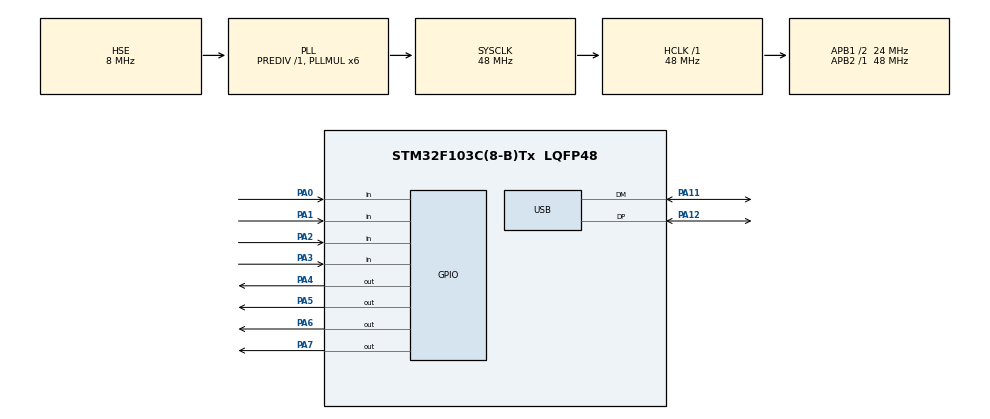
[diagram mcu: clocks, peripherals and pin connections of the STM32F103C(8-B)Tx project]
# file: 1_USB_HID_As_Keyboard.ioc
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Mcu.Family=STM32F1
PA2.GPIO_PuPd=GPIO_PULLUP
USB_DEVICE.CLASS_NAME_FS=HID
PD1-OSC_OUT.Mode=HSE-External-Oscillator
USB_DEVICE.VirtualModeFS=Hid_FS
PA3.GPIO_PuPd=GPIO_PULLUP
PA11.Mode=Device
PD0-OSC_IN.Signal=RCC_OSC_IN
RCC.APB1CLKDivider=RCC_HCLK_DIV2
RCC.SYSCLKSource=RCC_SYSCLKSOURCE_PLLCLK
ProjectManager.StackSize=0x400
PA0-WKUP.Signal=GPIO_Input
PD1-OSC_OUT.Signal=RCC_OSC_OUT
PA13.Signal=SYS_JTMS-SWDIO
PA12.Signal=USB_DP
ProjectManager.TargetToolchain=STM32CubeIDE
RCC.HCLKFreq_Value=48000000
RCC.APB2TimFreq_Value=48000000
RCC.USBFreq_Value=48000000
PA1.GPIO_PuPd=GPIO_PULLUP
PA1.Signal=GPIO_Input
RCC.AHBFreq_Value=48000000
PD0-OSC_IN.Mode=HSE-External-Oscillator
PA5.Signal=GPIO_Output
board=custom
RCC.PLLMUL=RCC_PLL_MUL6
VP_USB_DEVICE_VS_USB_DEVICE_HID_FS.Mode=HID_FS
RCC.APB2Freq_Value=48000000
PA14.Mode=Serial_Wire
NVIC.USB_LP_CAN1_RX0_IRQn=true\:0\:0\:false\:false\:true\:false\:true
PA13.Mode=Serial_Wire
Mcu.Name=STM32F103C(8-B)Tx
PA2.Signal=GPIO_Input
PA4.Signal=GPIO_Output
RCC.SYSCLKFreq_VALUE=48000000
Mcu.Package=LQFP48
PA6.Signal=GPIO_Output
PA12.Mode=Device
PA11.Signal=USB_DM
PA14.Signal=SYS_JTCK-SWCLK
ProjectManager.HeapSize=0x400
NVIC.PriorityGroup=NVIC_PRIORITYGROUP_4
RCC.APB1TimFreq_Value=48000000
PA0-WKUP.GPIO_PuPd=GPIO_PULLUP
RCC.APB1Freq_Value=24000000
USB_DEVICE.VirtualMode=Hid
PA3.Signal=GPIO_Input
PA7.Signal=GPIO_Output

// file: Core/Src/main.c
/* USER CODE BEGIN Header */
/**
 ******************************************************************************
 * @file           : main.c
 * @brief          : Main program body
 ******************************************************************************
 * @attention
 *
 * <h2><center>&copy; Copyright (c) 2021 STMicroelectronics.
 * All rights reserved.</center></h2>
 *
 * This software component is licensed by ST under BSD 3-Clause license,
 * the "License"; You may not use this file except in compliance with the
 * License. You may obtain a copy of the License at:
 *                        opensource.org/licenses/BSD-3-Clause
 *
 ******************************************************************************
 */
/* USER CODE END Header */
#include "main.h"
#include "usb_device.h"

/* USER CODE BEGIN Includes */
#include "usbd_hid.h"
#define PRESS_SIZE 8
#define KeyIDLE	'I'
/* USER CODE END Includes */

/* USER CODE BEGIN PV */
extern USBD_HandleTypeDef hUsbDeviceFS;
uint8_t press_report[PRESS_SIZE] = { 0 };
typedef struct {
	uint8_t MODIFIER;
	uint8_t RESERVED;
	uint8_t KEYCODE1;
	uint8_t KEYCODE2;
	uint8_t KEYCODE3;
	uint8_t KEYCODE4;
	uint8_t KEYCODE5;
	uint8_t KEYCODE6;
} keyboardHID;
keyboardHID keyboardhid = { 0, 0, 0, 0, 0, 0, 0, 0 };

char key[16] = { '1', '2', '3', 'A', '4', '5', '6', 'B', '7', '8', '9', 'C',
		'*', '0', '#', 'D' };
GPIO_TypeDef *gpio;
uint16_t row_gpio[4] = { GPIO_PIN_7, GPIO_PIN_6, GPIO_PIN_5, GPIO_PIN_4 }; //output
uint16_t col_gpio[4] = { GPIO_PIN_3, GPIO_PIN_2, GPIO_PIN_1, GPIO_PIN_0 };
uint8_t flag = 0;
uint32_t debounceTime = 200;
uint32_t timerTick;
/* USER CODE END PV */

void SystemClock_Config(void);
static void MX_GPIO_Init(void);

/* USER CODE BEGIN 0 */
char KeypadRead() {
	uint8_t pin_temp;
	for (uint8_t i = 0; i < 4; i++) {
		for (int g = 0; g < 4; g++) {
			if (g != i) {
				HAL_GPIO_WritePin(GPIOA, row_gpio[g], GPIO_PIN_SET);
			} else {
				HAL_GPIO_WritePin(GPIOA, row_gpio[g], GPIO_PIN_RESET);
				pin_temp = g;
			}
		}
		HAL_Delay(1);
		for (uint8_t j = 0; j < 4; j++) {
			if (HAL_GPIO_ReadPin(GPIOA, col_gpio[j]) == GPIO_PIN_RESET) {
				while (HAL_GPIO_ReadPin(GPIOA, col_gpio[j]) == GPIO_PIN_RESET)
					;
				HAL_GPIO_WritePin(GPIOA, row_gpio[pin_temp], GPIO_PIN_SET);
				HAL_Delay(1);
				if(HAL_GetTick()- timerTick > debounceTime)
				{
					timerTick = HAL_GetTick();
					return key[i * 4 + j];
				}
			}
		}
	}
	HAL_GPIO_WritePin(GPIOA, row_gpio[pin_temp], GPIO_PIN_SET);
	HAL_Delay(1);
	return KeyIDLE;
}
void BasicSimulation() {
	keyboardhid.MODIFIER = 0x02; //press 'left shift'
	keyboardhid.KEYCODE1 = 0x04; //press 'a'
	keyboardhid.KEYCODE2 = 0x05; //press 'b'
	USBD_HID_SendReport(&hUsbDeviceFS, &keyboardhid, sizeof(keyboardhid));
	HAL_Delay(50);
	keyboardhid.MODIFIER = 0x00; // release
	keyboardhid.KEYCODE1 = 0x00; //release
	keyboardhid.KEYCODE2 = 0x00; //press 'a'
	USBD_HID_SendReport(&hUsbDeviceFS, &keyboardhid, sizeof(keyboardhid));
	HAL_Delay(1000);
}

//void HAL_GPIO_WritePin(GPIO_TypeDef *GPIOx, uint16_t GPIO_Pin, GPIO_PinState PinState)
//{
//  /* Check the parameters */
//  assert_param(IS_GPIO_PIN(GPIO_Pin));
//  assert_param(IS_GPIO_PIN_ACTION(PinState));
//
//  if (PinState != GPIO_PIN_RESET)
//  {
//    GPIOx->BSRR = GPIO_Pin;
//  }
//  else
//  {
//    GPIOx->BSRR = (uint32_t)GPIO_Pin << 16u;
//  }
//}
/* USER CODE END 0 */

int main(void) {

	/* MCU Configuration--------------------------------------------------------*/

	/* Reset of all peripherals, Initializes the Flash interface and the Systick. */
	HAL_Init();

	/* Configure the system clock */
	SystemClock_Config();

	/* Initialize all configured peripherals */
	MX_GPIO_Init();
	MX_USB_DEVICE_Init();

	/* Infinite loop */
	while (1) {
		//BasicSimulation();
		char keyval = KeypadRead();
		if (keyval != KeyIDLE) {
			flag = 1;
			switch (keyval) {
			case '0':
				keyboardhid.KEYCODE1 = 0x27;
				break;
			case '1':
				keyboardhid.KEYCODE1 = 0x1E;
				break;
			case '2':
				keyboardhid.KEYCODE1 = 0x1F;
				break;
			case '3':
				keyboardhid.KEYCODE1 = 0x20;
				break;
			case '4':
				keyboardhid.KEYCODE1 = 0x21;
				break;
			case '5':
				keyboardhid.KEYCODE1 = 0x22;
				break;
			case '6':
				keyboardhid.KEYCODE1 = 0x23;
				break;
			case '7':
				keyboardhid.KEYCODE1 = 0x24;
				break;
			case '8':
				keyboardhid.KEYCODE1 = 0x25;
				break;
			case '9':
				keyboardhid.KEYCODE1 = 0x26;
				break;
			case 'A':
				keyboardhid.MODIFIER = 0x02;
				keyboardhid.KEYCODE1 = 0x04;
				break;
			case 'B':
				keyboardhid.MODIFIER = 0x02;
				keyboardhid.KEYCODE1 = 0x05;
				break;
			case 'C':
				keyboardhid.MODIFIER = 0x02;
				keyboardhid.KEYCODE1 = 0x06;
				break;
			case 'D':
				keyboardhid.MODIFIER = 0x02;
				keyboardhid.KEYCODE1 = 0x07;
				break;
			case '*':
				keyboardhid.MODIFIER = 0x02;
				keyboardhid.KEYCODE1 = 0x25;
				break;
			case '#':
				keyboardhid.MODIFIER = 0x02;
				keyboardhid.KEYCODE1 = 0x20;
				break;
			}
			if (flag == 1) {
				USBD_HID_SendReport(&hUsbDeviceFS, &keyboardhid,sizeof(keyboardhid));
				HAL_Delay(50);
				keyboardhid.MODIFIER = 0x00; // release
				keyboardhid.KEYCODE1 = 0x00; //release
				USBD_HID_SendReport(&hUsbDeviceFS, &keyboardhid,sizeof(keyboardhid));
				flag = 0;
			}

		}
	}
}

void SystemClock_Config(void) {
	RCC_OscInitTypeDef RCC_OscInitStruct = { 0 };
	RCC_ClkInitTypeDef RCC_ClkInitStruct = { 0 };
	RCC_PeriphCLKInitTypeDef PeriphClkInit = { 0 };

	/** Initializes the RCC Oscillators according to the specified parameters
	 * in the RCC_OscInitTypeDef structure.
	 */
	RCC_OscInitStruct.OscillatorType = RCC_OSCILLATORTYPE_HSE;
	RCC_OscInitStruct.HSEState = RCC_HSE_ON;
	RCC_OscInitStruct.HSEPredivValue = RCC_HSE_PREDIV_DIV1;
	RCC_OscInitStruct.HSIState = RCC_HSI_ON;
	RCC_OscInitStruct.PLL.PLLState = RCC_PLL_ON;
	RCC_OscInitStruct.PLL.PLLSource = RCC_PLLSOURCE_HSE;
	RCC_OscInitStruct.PLL.PLLMUL = RCC_PLL_MUL6;
	if (HAL_RCC_OscConfig(&RCC_OscInitStruct) != HAL_OK) {
		Error_Handler();
	}
	/** Initializes the CPU, AHB and APB buses clocks
	 */
	RCC_ClkInitStruct.ClockType = RCC_CLOCKTYPE_HCLK | RCC_CLOCKTYPE_SYSCLK
			| RCC_CLOCKTYPE_PCLK1 | RCC_CLOCKTYPE_PCLK2;
	RCC_ClkInitStruct.SYSCLKSource = RCC_SYSCLKSOURCE_PLLCLK;
	RCC_ClkInitStruct.AHBCLKDivider = RCC_SYSCLK_DIV1;
	RCC_ClkInitStruct.APB1CLKDivider = RCC_HCLK_DIV2;
	RCC_ClkInitStruct.APB2CLKDivider = RCC_HCLK_DIV1;

	if (HAL_RCC_ClockConfig(&RCC_ClkInitStruct, FLASH_LATENCY_1) != HAL_OK) {
		Error_Handler();
	}
	PeriphClkInit.PeriphClockSelection = RCC_PERIPHCLK_USB;
	PeriphClkInit.UsbClockSelection = RCC_USBCLKSOURCE_PLL;
	if (HAL_RCCEx_PeriphCLKConfig(&PeriphClkInit) != HAL_OK) {
		Error_Handler();
	}
}

static void MX_GPIO_Init(void) {
	GPIO_InitTypeDef GPIO_InitStruct = { 0 };

	/* GPIO Ports Clock Enable */
	__HAL_RCC_GPIOD_CLK_ENABLE();
	__HAL_RCC_GPIOA_CLK_ENABLE();

	/*Configure GPIO pin Output Level */
	HAL_GPIO_WritePin(GPIOA, GPIO_PIN_4 | GPIO_PIN_5 | GPIO_PIN_6 | GPIO_PIN_7,
			GPIO_PIN_RESET);

	/*Configure GPIO pins : PA0 PA1 PA2 PA3 */
	GPIO_InitStruct.Pin = GPIO_PIN_0 | GPIO_PIN_1 | GPIO_PIN_2 | GPIO_PIN_3;
	GPIO_InitStruct.Mode = GPIO_MODE_INPUT;
	GPIO_InitStruct.Pull = GPIO_PULLUP;
	HAL_GPIO_Init(GPIOA, &GPIO_InitStruct);

	/*Configure GPIO pins : PA4 PA5 PA6 PA7 */
	GPIO_InitStruct.Pin = GPIO_PIN_4 | GPIO_PIN_5 | GPIO_PIN_6 | GPIO_PIN_7;
	GPIO_InitStruct.Mode = GPIO_MODE_OUTPUT_PP;
	GPIO_InitStruct.Pull = GPIO_NOPULL;
	GPIO_InitStruct.Speed = GPIO_SPEED_FREQ_LOW;
	HAL_GPIO_Init(GPIOA, &GPIO_InitStruct);

}

void Error_Handler(void) {
	__disable_irq();
	while (1) {
	}
}

/************************ (C) COPYRIGHT STMicroelectronics *****END OF FILE****/
